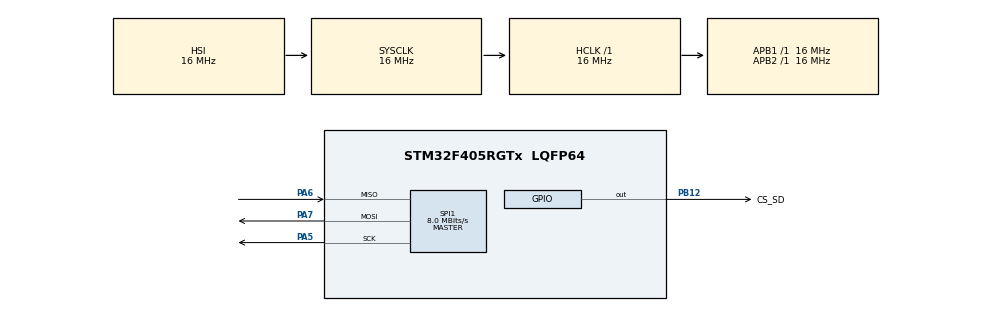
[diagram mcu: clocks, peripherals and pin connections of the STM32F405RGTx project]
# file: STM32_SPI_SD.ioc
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FATFS._MAX_SS=4096
FATFS._USE_LFN=0
Mcu.Family=STM32F4
Mcu.Name=STM32F405RGTx
Mcu.Package=LQFP64
NVIC.PriorityGroup=NVIC_PRIORITYGROUP_4
PA13.Mode=Serial_Wire
PA13.Signal=SYS_JTMS-SWDIO
PA14.Mode=Serial_Wire
PA14.Signal=SYS_JTCK-SWCLK
PA5.Mode=Full_Duplex_Master
PA5.Signal=SPI1_SCK
PA6.Mode=Full_Duplex_Master
PA6.Signal=SPI1_MISO
PA7.Mode=Full_Duplex_Master
PA7.Signal=SPI1_MOSI
PB12.GPIO_Label=CS_SD
PB12.Signal=GPIO_Output
PC14-OSC32_IN.Mode=LSE-External-Oscillator
PC14-OSC32_IN.Signal=RCC_OSC32_IN
PC15-OSC32_OUT.Mode=LSE-External-Oscillator
PC15-OSC32_OUT.Signal=RCC_OSC32_OUT
PH0-OSC_IN.Mode=HSE-External-Oscillator
PH0-OSC_IN.Signal=RCC_OSC_IN
PH1-OSC_OUT.Mode=HSE-External-Oscillator
PH1-OSC_OUT.Signal=RCC_OSC_OUT
ProjectManager.HeapSize=0x2000
ProjectManager.StackSize=0x4000
ProjectManager.TargetToolchain=STM32CubeIDE
RCC.AHBFreq_Value=16000000
RCC.APB1Freq_Value=16000000
RCC.APB2Freq_Value=16000000
RCC.CortexFreq_Value=16000000
RCC.HSE_VALUE=25000000
RCC.HSI_VALUE=16000000
RCC.SYSCLKFreq_VALUE=16000000
RCC.VCOOutputFreq_Value=192000000
SPI1.CalculateBaudRate=8.0 MBits/s
SPI1.Direction=SPI_DIRECTION_2LINES
SPI1.Mode=SPI_MODE_MASTER
SPI1.VirtualType=VM_MASTER
VP_FATFS_VS_Generic.Mode=User_defined
board=custom

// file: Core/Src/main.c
/* USER CODE BEGIN Header */
/**
  ******************************************************************************
  * @file           : main.c
  * @brief          : Main program body
  ******************************************************************************
  * @attention
  *
  * <h2><center>&copy; Copyright (c) 2020 STMicroelectronics.
  * All rights reserved.</center></h2>
  *
  * This software component is licensed by ST under BSD 3-Clause license,
  * the "License"; You may not use this file except in compliance with the
  * License. You may obtain a copy of the License at:
  *                        opensource.org/licenses/BSD-3-Clause
  *
  ******************************************************************************
  */
/* USER CODE END Header */
#include "main.h"
#include "fatfs.h"
#include "spi.h"
#include "gpio.h"

/* USER CODE BEGIN Includes */
#include <stdio.h>
/* USER CODE END Includes */

/* USER CODE BEGIN PV */
uint8_t buffer[_MAX_SS]; /* a work buffer for the f_mkfs() */
/* USER CODE END PV */

void SystemClock_Config(void);

int main(void)
{

  /* MCU Configuration--------------------------------------------------------*/

  /* Reset of all peripherals, Initializes the Flash interface and the Systick. */
  HAL_Init();

  /* Configure the system clock */
  SystemClock_Config();

  /* Initialize all configured peripherals */
  MX_GPIO_Init();
  MX_SPI1_Init();
  MX_FATFS_Init();
  /* USER CODE BEGIN 2 */

  FRESULT res;
  uint8_t tx[] = "This is STM32 working with FatFs using SD card as storage medium";
  uint8_t rx[100] = "0";

  UINT cnt;

  res = f_mount(&USERFatFS, (TCHAR const*) USERPath, 0);

  /*only first time*/
  //res = f_mkfs((TCHAR const*) USERPath, FM_ANY, 0, buffer, sizeof(buffer));
  res = f_open(&USERFile, "stm32.txt", FA_CREATE_ALWAYS | FA_WRITE);
  res = f_write(&USERFile, tx, sizeof(tx), &cnt);
  res = f_close(&USERFile);

  res = f_open(&USERFile, "stm32_1.txt", FA_CREATE_ALWAYS | FA_WRITE);
  res = f_write(&USERFile, tx, sizeof(tx), &cnt);
  res = f_close(&USERFile);

  res = f_open(&USERFile, "stm32_2.txt", FA_CREATE_ALWAYS | FA_WRITE);
  res = f_write(&USERFile, tx, sizeof(tx), &cnt);
  res = f_close(&USERFile);

  res = f_open(&USERFile, "stm32_3.txt", FA_CREATE_ALWAYS | FA_WRITE);
  res = f_write(&USERFile, tx, sizeof(tx), &cnt);
  res = f_close(&USERFile);

  res = f_open(&USERFile, "STM32_4.txt", FA_CREATE_ALWAYS | FA_WRITE);
  res = f_write(&USERFile, tx, sizeof(tx), &cnt);
  res = f_close(&USERFile);

  res = f_open(&USERFile, "stm32_5.txt", FA_CREATE_ALWAYS | FA_WRITE);
  res = f_write(&USERFile, tx, sizeof(tx), &cnt);
  res = f_close(&USERFile);

  res = f_open(&USERFile, "stm32_6.txt", FA_CREATE_ALWAYS | FA_WRITE);
  res = f_write(&USERFile, tx, sizeof(tx), &cnt);
  res = f_close(&USERFile);

  res = f_open(&USERFile, "stm32_7.txt", FA_CREATE_ALWAYS | FA_WRITE);
  res = f_write(&USERFile, tx, sizeof(tx), &cnt);
  res = f_close(&USERFile);

  ///////////////////////////////////////////////
  res = f_open(&USERFile, "stm32_2.txt", FA_READ);
  res = f_read(&USERFile, rx, sizeof(rx), &cnt);
  res = f_close(&USERFile);

  FATFS *fs;
  DWORD fre_clust, fre_sect, tot_sect;

  /* Get volume information and free clusters of drive 1 */
  res = f_getfree(USERPath, &fre_clust, &fs);

  /* Get total sectors and free sectors */
  tot_sect = (fs->n_fatent - 2) * fs->csize;
  fre_sect = fre_clust * fs->csize;

  /* Print the free space (assuming 512 bytes/sector) */
  char temp_buffer[100];
  sprintf(temp_buffer, "%10lu KiB total drive space.\n%10lu KiB available.\n", tot_sect / 2, fre_sect / 2);

  (void)res;

  /* USER CODE END 2 */

  /* Infinite loop */
  while (1)
  {

  }
}

void SystemClock_Config(void)
{
  RCC_OscInitTypeDef RCC_OscInitStruct = {0};
  RCC_ClkInitTypeDef RCC_ClkInitStruct = {0};

  /** Configure the main internal regulator output voltage
  */
  __HAL_RCC_PWR_CLK_ENABLE();
  __HAL_PWR_VOLTAGESCALING_CONFIG(PWR_REGULATOR_VOLTAGE_SCALE1);
  /** Initializes the RCC Oscillators according to the specified parameters
  * in the RCC_OscInitTypeDef structure.
  */
  RCC_OscInitStruct.OscillatorType = RCC_OSCILLATORTYPE_HSI;
  RCC_OscInitStruct.HSIState = RCC_HSI_ON;
  RCC_OscInitStruct.HSICalibrationValue = RCC_HSICALIBRATION_DEFAULT;
  RCC_OscInitStruct.PLL.PLLState = RCC_PLL_NONE;
  if (HAL_RCC_OscConfig(&RCC_OscInitStruct) != HAL_OK)
  {
    Error_Handler();
  }
  /** Initializes the CPU, AHB and APB buses clocks
  */
  RCC_ClkInitStruct.ClockType = RCC_CLOCKTYPE_HCLK|RCC_CLOCKTYPE_SYSCLK
                              |RCC_CLOCKTYPE_PCLK1|RCC_CLOCKTYPE_PCLK2;
  RCC_ClkInitStruct.SYSCLKSource = RCC_SYSCLKSOURCE_HSI;
  RCC_ClkInitStruct.AHBCLKDivider = RCC_SYSCLK_DIV1;
  RCC_ClkInitStruct.APB1CLKDivider = RCC_HCLK_DIV1;
  RCC_ClkInitStruct.APB2CLKDivider = RCC_HCLK_DIV1;

  if (HAL_RCC_ClockConfig(&RCC_ClkInitStruct, FLASH_LATENCY_0) != HAL_OK)
  {
    Error_Handler();
  }
}

void Error_Handler(void)
{
}

/************************ (C) COPYRIGHT STMicroelectronics *****END OF FILE****/
